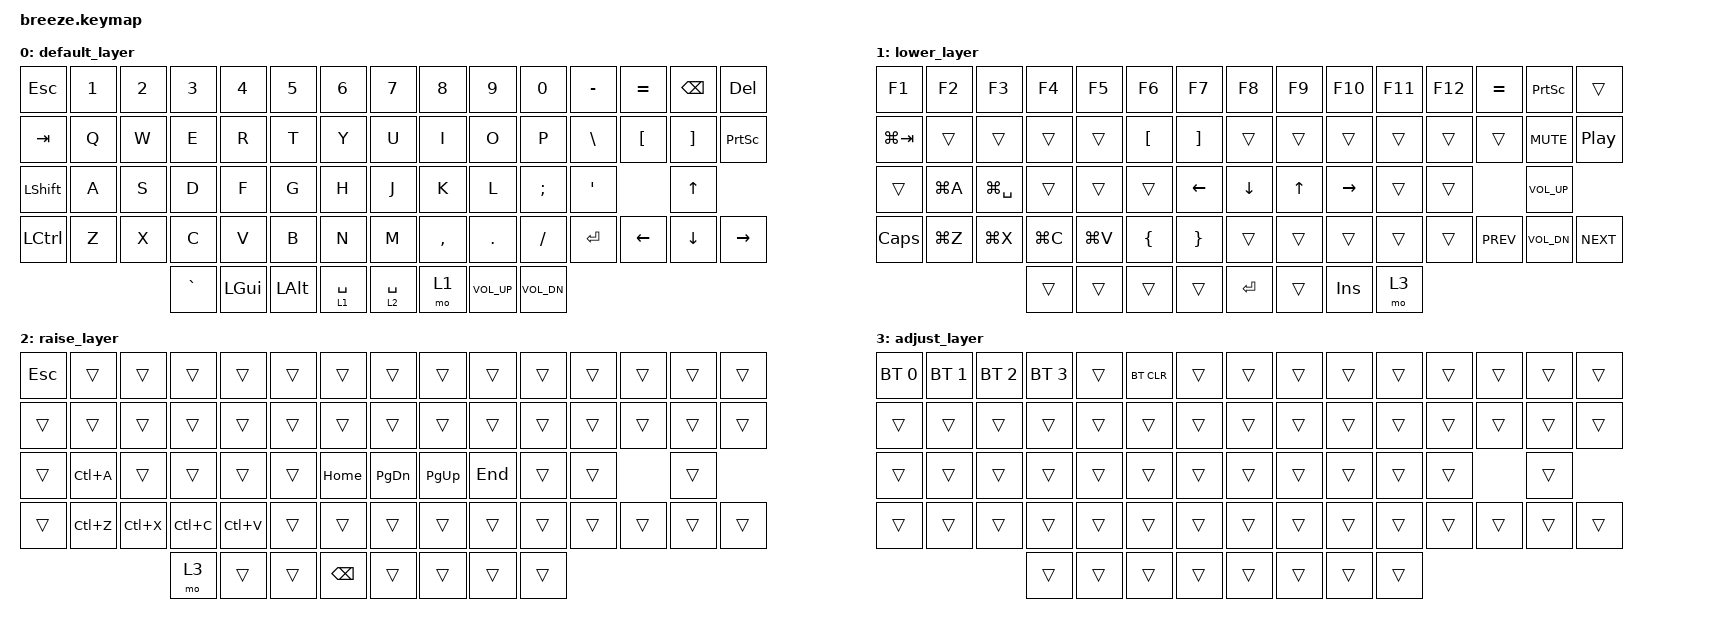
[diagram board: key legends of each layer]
/*
 * Copyright (c) 2022 The ZMK Contributors
 *
 * SPDX-License-Identifier: MIT
 */

#include <behaviors.dtsi>
#include <dt-bindings/zmk/keys.h>
#include <dt-bindings/zmk/bt.h>
#include <dt-bindings/zmk/ext_power.h>

/ {
	keymap {
		compatible = "zmk,keymap";

		default_layer {

// Ref: https://zmkfirmware.dev/docs/codes/

// ----------------------------------------------------------------------------------------------------------------------------------
// |  ESC  |  1  |  2  |  3    |  4   |  5   |                               |  6   |  7    |  8    |  9   |   0   | -/_  |   =  | BKSP | DEL|
// |  TAB  |  Q  |  W  |  E    |  R   |  T   |                               |  Y   |  U    |  I    |  O   |   P   |  \   |   [  |  ]  | PRTSN |
// |  SHFT |  A  |  S  |  D    |  F   |  G   |                               |  H   |  J    |  K    |  L   |   ;   |  '   | |     |  UP  |      |
// |  CTRL |  Z  |  X  |  C    |  V   |  B   |                               |  N   |  M    |  ,    |  .   |   /   |  RET | |  L  |  DN  |  R   |
//                     | tilde | GUI  | ALT  | LOWER/SPACE |   | RAISE/SPACE |layer1 | Vol+  | Vol- |
			bindings = <
&kp ESC &kp N1 &kp N2 &kp N3  &kp N4   &kp N5                           &kp N6   &kp N7   &kp N8    &kp N9  &kp N0   &kp MINUS   &kp EQUAL   &kp BSPC   &kp DEL
&kp TAB   &kp Q  &kp W  &kp E   &kp R    &kp T                            &kp Y    &kp U    &kp I     &kp O   &kp P    &kp BSLH	   &kp LBKT   &kp RBKT  &kp PSCRN
&kp LSHFT &kp A  &kp S  &kp D   &kp F    &kp G                            &kp H    &kp J    &kp K     &kp L   &kp SEMI &kp APOS              &kp UP 
&kp LCTRL &kp Z  &kp X  &kp C   &kp V    &kp B                            &kp N    &kp M    &kp COMMA &kp DOT &kp FSLH &kp RET    &kp LEFT  &kp DOWN  &kp RIGHT
                        &kp GRAVE &kp LGUI &kp LALT &lt 1 SPACE &lt 2 SPACE &mo 1 &kp C_VOL_UP &kp C_VOL_DN
			>;
		};

		lower_layer {
// ---------------------------------------------------------------------------------------------------------------------------------- 
// |   F1  |  F2  |  F3 |  F4  |  F5   |  F6  |                   |  F7  |  F8  |  F9  |  F10 |  F11  |  F12  | |   =   | PSCRN|      | 
// |CMD-TAB|      |     |      |       |  [   |                   |  ]   |      |      |      |       |       | |       | Mute | Play | 
// |       | CMD-A|     |      |       |      |                   |  L   |  DN  |  UP  |  R   |       |       | |       | Vol+ |      | 
// |  CAPS | CMD-Z| CUT | COPY | PASTE |  {   |                   |  }   |      |      |      |       |       | | Prev  | Vol- | Next | 
//                      |      |       |      |        |  |  RET  |      |  INS |ADJUST|
			bindings = <
&kp F1      &kp F2      &kp F3     &kp F4     &kp F5    &kp F6                       &kp F7   &kp F8   &kp F9  &kp F10   &kp F11 &kp F12 &kp EQUAL  &kp PSCRN     &trans    
&kp LG(TAB) &trans      &trans     &trans     &trans    &kp LBKT                     &kp RBKT &trans   &trans  &trans    &trans  &trans  &trans     &kp C_MUTE    &kp C_PLAY_PAUSE 
&trans      &kp LG(A)   &kp LG(SPACE) &trans     &trans    &trans                       &kp LEFT &kp DOWN &kp UP  &kp RIGHT &trans  &trans             &kp C_VOL_UP
&kp CAPS    &kp LG(Z)     &kp LG(X)  &kp LG(C)  &kp LG(V) &kp LBRC                   &kp RBRC &trans   &trans  &trans    &trans  &trans  &kp C_PREV &kp C_VOL_DN  &kp C_NEXT
                                &trans     &trans    &trans    &trans   &kp RET   &trans   &kp INS  &mo 3
			>;
		};

		raise_layer {
// ---------------------------------------------------------------------------------------------------------------------------------- 
// | ESC |      |      |      |      |        |                   |      |      |      |      |       |       | |     |      |      | 
// |     |      |      |      |      |        |                   |      |      |      |      |       |       | |     |      |      | 
// |     |CTRL-A|      |      |      |        |                   | HOME | PGDN | PGUP | END  |       |       | |     |      |      | 
// |     |CTRL-Z|CTRL-X|CTRL-C|CTRL-V|        |                   |      |      |      |      |       |       | |     |      |      | 
//                     |      |      |        |  BKSP  |  |       |      |      |      |
			bindings = <
&kp ESC &trans    &trans &trans  &trans  &trans                       &trans   &trans     &trans    &trans  &trans    &trans     &trans &trans &trans 
&trans  &trans    &trans &trans  &trans  &trans                       &trans   &trans     &trans    &trans  &trans    &trans     &trans &trans &trans
&trans  &kp LC(A) &trans &trans  &trans  &trans                       &kp HOME &kp PG_DN  &kp PG_UP &kp END &trans    &trans            &trans        
&trans  &kp LC(Z)   &kp LC(X) &kp LC(C) &kp LC(V)  &trans             &trans   &trans     &trans    &trans  &trans    &trans     &trans &trans &trans 
                     &mo 3   &trans  &trans   &kp BSPC       &trans   &trans  &trans   &trans
			>;
		};
		
		adjust_layer {
// ---------------------------------------------------------------------------------------------------------------------------------- 
// | BT1 | BT2 | BT3 | BT4  |      | BT_CLR |                   |      |       |       |      |       |       | |     |      |      | 
// |     |     |     |      |      |        |                   |      |       |       |      |       |       | |     |      |      | 
// |     |     |     |      |      |        |                   |      |       |       |      |       |       | |     |      |      | 
// |     |     |     |      |      |        |                   |      |       |       |      |       |       | |     |      |      | 
//                   |      |      |        |        |  |       |      |       |       |
			bindings = <
&bt BT_SEL 0 &bt BT_SEL 1 &bt BT_SEL 2 &bt BT_SEL 3  &trans  &bt BT_CLR                   &trans  &trans   &trans   &trans  &trans    &trans     &trans &trans &trans 
&trans &trans &trans &trans  &trans  &trans                       &trans  &trans   &trans   &trans  &trans    &trans     &trans &trans &trans
&trans &trans &trans &trans  &trans  &trans                       &trans  &trans   &trans   &trans  &trans    &trans            &trans        
&trans &trans &trans &trans  &trans  &trans                       &trans  &trans   &trans   &trans  &trans    &trans   &trans &trans &trans 
                             &trans  &trans  &trans    &trans    &trans   &trans  &trans   &trans
			>;
		};
	};
};
